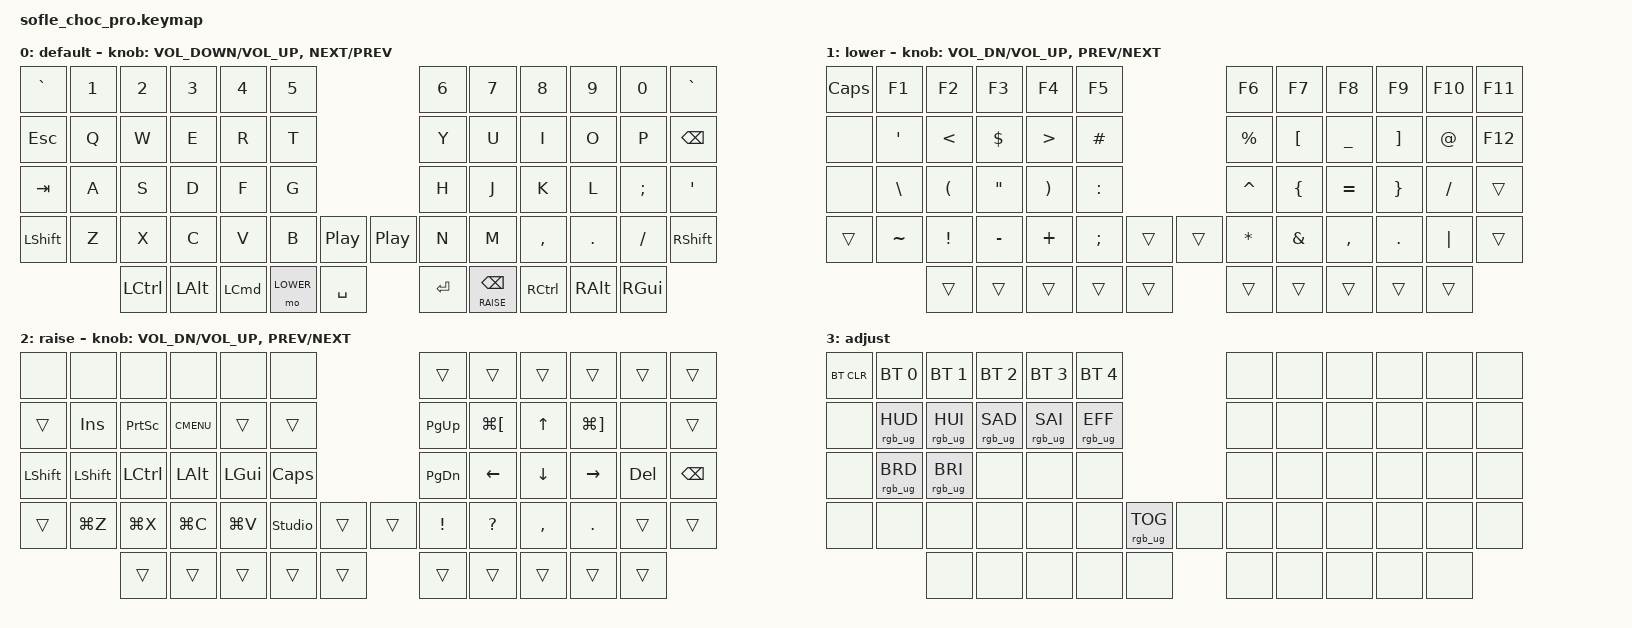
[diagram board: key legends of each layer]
/*
* Copyright (c) 2020 The ZMK Contributors
*
* SPDX-License-Identifier: MIT
*/

#include <behaviors.dtsi>
#include <dt-bindings/zmk/bt.h>
#include <dt-bindings/zmk/ext_power.h>
#include <dt-bindings/zmk/keys.h>
#include <dt-bindings/zmk/pointing.h>
#include <dt-bindings/zmk/rgb.h>

#define BASE 0
#define LOWER 1
#define RAISE 2
#define ADJUST 3

/ {
    // Activate ADJUST layer by pressing raise and lower

    /*
     * MANUAL CONFIGURATION REQUIRED: Conditional Layers
     * --------------------------------------------------
     * Error: zmk,conditional-layers has source-specific timing or behavior; automatic conversion is not available.
     *
     * How to configure manually in your software:
     * - Feature: Conditional Layers / Tri-Layer
     * - Trigger Condition (if-layers): Both LOWER (Layer 1) and RAISE (Layer 2) active
     * - Target Layer (then-layer): ADJUST (Layer 3)
     * - Behavior: When both LOWER and RAISE momentary keys (&mo LOWER and &lt RAISE BACKSPACE)
     *   are pressed simultaneously, the ADJUST layer automatically activates (for BT, RGB, Power controls).
     *   Releasing either key drops back to the remaining held layer.
     */
    /*
    conditional_layers {
        compatible = "zmk,conditional-layers";

        adjust_layer {
            if-layers = <LOWER RAISE>;
            then-layer = <ADJUST>;
        };
    };
    */

    behaviors {
        /*
         * MANUAL CONFIGURATION REQUIRED: Custom Hold-Tap Behavior (homerow_mod)
         * ---------------------------------------------------------------------
         * Error: Behavior &homerow_mod ... needs manual conversion.
         *
         * Parameters & Timings:
         * - Compatible: "zmk,behavior-hold-tap"
         * - Flavor: "balanced"
         *     -> If another key is pressed and released within tapping-term-ms, the hold (modifier) action is sent.
         * - Tapping Term: 200 ms (tapping-term-ms = <200>)
         *     -> Threshold window to differentiate between tapping a key and holding it as a modifier.
         * - Require Prior Idle: 125 ms (require-prior-idle-ms = <125>)
         *     -> Must be idle for 125ms before hold can activate; prevents accidental modifiers during fast typing.
         * - Bindings: <&kp>, <&kp> (Hold = Modifier key, Tap = Character key)
         *
         * How to configure manually:
         * Create a Hold-Tap / Mod-Tap behavior profile in the software with:
         * - Flavor: Balanced
         * - Tapping Term: 200 ms
         * - Require Prior Idle: 125 ms
         */
        /*
        homerow_mod: homerow_mod {
            compatible = "zmk,behavior-hold-tap";
            label = "HOMEROW_MOD";
            #binding-cells = <2>;
            tapping-term-ms = <200>;
            flavor = "balanced";
            require-prior-idle-ms = <125>;
            bindings = <&kp>, <&kp>;
        };
        */

        encoder_scroll: encoder_scroll {
            compatible = "zmk,behavior-sensor-rotate";
            label = "ENCODER_SCROLL";
            #sensor-binding-cells = <0>;
            bindings = <&msc SCRL_UP>, <&msc SCRL_DOWN>;
        };
    };

    keymap {
        compatible = "zmk,keymap";

        default_layer {
            display-name = "default";
            /*
             * MANUAL CONVERSION REQUIRED - HOMEROW MODS (Layer 0):
             * The following 8 homerow mod keys were replaced with default key presses (&kp <KEY>)
             * so the keymap can be imported into the configuration software:
             *
             * Settings to configure manually for each key (Hold-Tap / Mod-Tap):
             *   - Flavor: balanced
             *   - Tapping term: 200 ms
             *   - Require prior idle: 125 ms
             *
             * Key-by-key hold/tap mapping:
             *   - Key A:         Hold = LEFT_SHIFT    | Tap = A          (Original: &homerow_mod LEFT_SHIFT A)
             *   - Key S:         Hold = LEFT_CONTROL  | Tap = S          (Original: &homerow_mod LEFT_CONTROL S)
             *   - Key D:         Hold = LEFT_ALT      | Tap = D          (Original: &homerow_mod LEFT_ALT D)
             *   - Key F:         Hold = LEFT_GUI      | Tap = F          (Original: &homerow_mod LEFT_GUI F)
             *   - Key J:         Hold = LEFT_GUI      | Tap = J          (Original: &homerow_mod LEFT_GUI J)
             *   - Key K:         Hold = RIGHT_ALT     | Tap = K          (Original: &homerow_mod RIGHT_ALT K)
             *   - Key L:         Hold = RIGHT_CONTROL | Tap = L          (Original: &homerow_mod RIGHT_CONTROL L)
             *   - Key SEMICOLON: Hold = RIGHT_SHIFT   | Tap = SEMICOLON  (Original: &homerow_mod RIGHT_SHIFT SEMICOLON)
             */
            bindings = <
&kp GRAVE  &kp N1  &kp N2            &kp N3    &kp N4            &kp N5                                           &kp N6   &kp N7               &kp N8     &kp N9     &kp N0         &kp GRAVE
&kp ESC    &kp Q   &kp W             &kp E     &kp R             &kp T                                            &kp Y    &kp U                &kp I      &kp O      &kp P          &kp BSPC
&kp TAB    &kp A   &kp S             &kp D     &kp F             &kp G                                            &kp H    &kp J                &kp K      &kp L      &kp SEMICOLON  &kp SQT
&kp LSHFT  &kp Z   &kp X             &kp C     &kp V             &kp B      &kp C_PLAY_PAUSE    &kp C_PLAY_PAUSE  &kp N    &kp M                &kp COMMA  &kp DOT    &kp FSLH       &kp RSHFT
                   &kp LEFT_CONTROL  &kp LALT  &kp LEFT_COMMAND  &mo LOWER  &kp SPACE           &kp RET           &lt RAISE BACKSPACE  &kp RCTRL  &kp RALT   &kp RGUI
            >;

            sensor-bindings =
                <&inc_dec_kp C_VOLUME_DOWN C_VOLUME_UP>,
                <&inc_dec_kp C_NEXT C_PREV>;
        };

        symbols {
            display-name = "lower";
            /*
             * MANUAL CONVERSION REQUIRED - CAPS WORD (Layer 1):
             * Replaced &caps_word with default key press &kp CAPS.
             *
             * Manual configuration details:
             *   - Original behavior: &caps_word
             *   - Behavior type: Caps Word
             *   - Behavior: Automatically capitalizes alpha keys until a word boundary
             *     (space, punctuation, number, enter) or idle timeout occurs.
             *   - How to configure manually: In software, assign this key to the "Caps Word"
             *     behavior or macro.
             */
            bindings = <
&kp CAPS   &kp F1         &kp F2                &kp F3             &kp F4                 &kp F5                           &kp F6        &kp F7            &kp F8          &kp F9             &kp F10      &kp F11
&none      &kp SQT        &kp LESS_THAN         &kp DOLLAR         &kp GREATER_THAN       &kp HASH                         &kp PERCENT   &kp LEFT_BRACKET  &kp UNDERSCORE  &kp RIGHT_BRACKET  &kp AT_SIGN  &kp F12
&none      &kp BACKSLASH  &kp LEFT_PARENTHESIS  &kp DOUBLE_QUOTES  &kp RIGHT_PARENTHESIS  &kp COLON                        &kp CARET     &kp LEFT_BRACE    &kp EQUAL       &kp RIGHT_BRACE    &kp SLASH    &trans
&trans     &kp TILDE      &kp EXCLAMATION       &kp MINUS          &kp PLUS               &kp SEMICOLON  &trans    &trans  &kp ASTERISK  &kp AMPERSAND     &kp COMMA       &kp PERIOD         &kp PIPE     &trans
                          &trans                &trans             &trans                 &trans         &trans    &trans  &trans        &trans            &trans          &trans
            >;

            sensor-bindings = <&inc_dec_kp C_VOL_DN C_VOL_UP &inc_dec_kp C_PREV C_NEXT>;
        };

        navigation {
            display-name = "raise";
            bindings = <
&none           &none           &none             &none         &none         &none                             &trans           &trans                &trans     &trans                 &trans   &trans
&trans          &kp INS         &kp PSCRN         &kp K_CMENU   &trans        &trans                            &kp PG_UP        &kp LG(LEFT_BRACKET)  &kp UP     &kp LG(RIGHT_BRACKET)  &none    &trans
&kp LEFT_SHIFT  &kp LEFT_SHIFT  &kp LEFT_CONTROL  &kp LEFT_ALT  &kp LEFT_GUI  &kp CLCK                          &kp PG_DN        &kp LEFT              &kp DOWN   &kp RIGHT              &kp DEL  &kp BSPC
&trans          &kp LG(Z)       &kp LG(X)         &kp LG(C)     &kp LG(V)     &studio_unlock  &trans    &trans  &kp EXCLAMATION  &kp QUESTION          &kp COMMA  &kp PERIOD             &trans   &trans
                                &trans            &trans        &trans        &trans          &trans    &trans  &trans           &trans                &trans     &trans
            >;

            sensor-bindings = <&inc_dec_kp C_VOL_DN C_VOL_UP &inc_dec_kp C_PREV C_NEXT>;
        };

        adjust_layer {
            display-name = "adjust";
            /*
             * MANUAL CONVERSION REQUIRED - EXTERNAL POWER TOGGLE (Layer 3):
             * Replaced &ext_power EP_TOG with default key press &kp C_POWER.
             *
             * Manual configuration details:
             *   - Original behavior: &ext_power EP_TOG
             *   - Behavior type: External Power Control
             *   - Command: EP_TOG (External Power Toggle)
             *   - Behavior: Toggles the VCC power rail to OLED displays and RGB LEDs to save battery power.
             *   - How to configure manually: In software, assign this key to "External Power" -> "Toggle" (EP_TOG).
             */
            bindings = <
&bt BT_CLR   &bt BT_SEL 0     &bt BT_SEL 1     &bt BT_SEL 2     &bt BT_SEL 3     &bt BT_SEL 4                               &none  &none  &none  &none  &none  &none
&none  &rgb_ug RGB_HUD  &rgb_ug RGB_HUI  &rgb_ug RGB_SAD  &rgb_ug RGB_SAI  &rgb_ug RGB_EFF                            &none  &none  &none  &none  &none  &none
&none        &rgb_ug RGB_BRD  &rgb_ug RGB_BRI  &none            &none            &none                                      &none  &none  &none  &none  &none  &none
&none        &none            &none            &none            &none            &none            &rgb_ug RGB_TOG    &none  &none  &none  &none  &none  &none  &none
                              &none            &none            &none            &none            &none              &none  &none  &none  &none  &none
            >;
        };
    };
};
